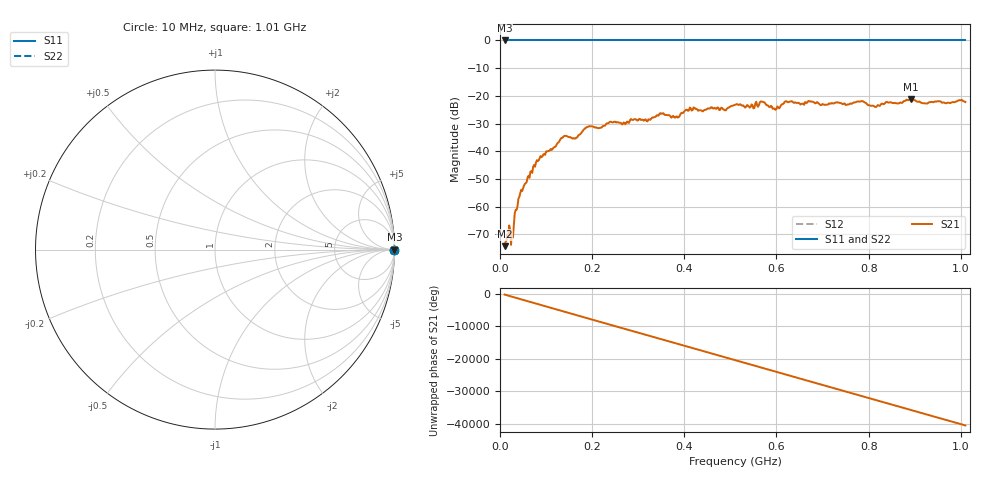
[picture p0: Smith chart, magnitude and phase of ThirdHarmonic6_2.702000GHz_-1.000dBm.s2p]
! 8/17/2025 6:28:43 AM
! C:\ANRITSUVNA\TEMP\TEMP.S2P
! CHANNEL.1
! TR.MEASUREMENT
! RAW.DATA
! RF.CORRECTION.OFF
! AVERAGING.OFF
! IF.BANDWIDTH: 5KHZ
! SWEEPTYPE:  FREQ.SWEEP(Linear)
! Reference Plane Port Info
! PORT:  PORT1  PORT2
! DISTANCE:  0  m  0  m
! TIME:  0  s  0  s
! PHASE.OFFSET:  0  deg.  0  deg.
! LOSS:  0  dB  0  dB
! REF.LOSS:  0  dB  0  dB
! REF.FREQ:  0  Hz  0  Hz
! Power Info
! POWER:  -20  dBm  -20  dBm
! EFF.POWER:  -20  dBm  -20  dBm
! SOURCE.ATTEN:  0  dB  0  dB
! TEST.ATTEN:  0  dB  0  dB
# GHZ S RI R 50.0
! FREQ.GHZ  S11RE  S11IM  S21RE  S21IM  S12RE  S12IM  S22RE  S22IM
!; PortSelection: Port_12
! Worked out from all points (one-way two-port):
!   501 points, 10 MHz to 1.01 GHz, reference 50 ohm
!   highest |S21| = -21.28 dB at 892 MHz (marker M1); lowest = -74.3 dB at 10 MHz (marker M2)
!   lowest |S11| = 0.0 dB at 10 MHz (marker M3)
!   |S11| at or under -10 dB: nowhere
!   |S22| runs from 0.0 to 0.0 dB; largest |S21 - S12| = 1.1
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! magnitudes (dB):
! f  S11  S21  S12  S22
! 10 MHz  0.0  -74.3  0.0  0.0
! 18 MHz  0.0  -71.1  0.0  0.0
! 26 MHz  0.0  -68.4  0.0  0.0
! 44 MHz  0.0  -55.0  0.0  0.0
! 76 MHz  0.0  -45.6  0.0  0.0
! 136 MHz  0.0  -35.1  0.0  0.0
! 162 MHz  0.0  -35.4  0.0  0.0
! 178 MHz  0.0  -33.0  0.0  0.0
! 344 MHz  0.0  -27.2  0.0  0.0
! 384 MHz  0.0  -27.4  0.0  0.0
! 416 MHz  0.0  -25.3  0.0  0.0
! 488 MHz  0.0  -25.2  0.0  0.0
! 510 MHz  0.0  -23.3  0.0  0.0
! 570 MHz  0.0  -22.1  0.0  0.0
! 596 MHz  0.0  -24.6  0.0  0.0
! 622 MHz  0.0  -22.0  0.0  0.0
! 678 MHz  0.0  -22.2  0.0  0.0
! 786 MHz  0.0  -21.8  0.0  0.0
! 814 MHz  0.0  -24.0  0.0  0.0
! 844 MHz  0.0  -22.5  0.0  0.0
! 892 MHz  0.0  -21.3  0.0  0.0
! 1.01 GHz  0.0  -22.2  0.0  0.0
